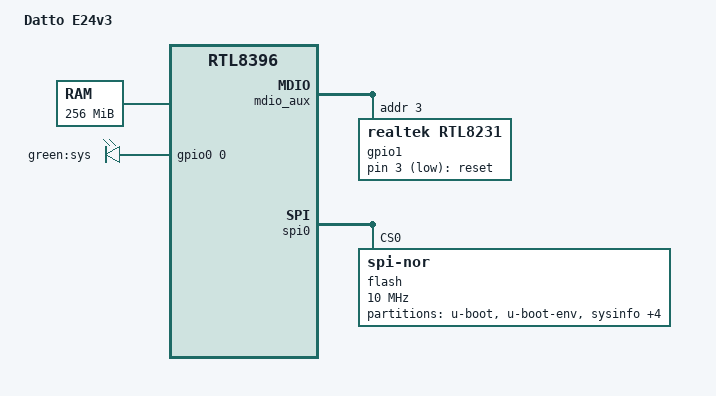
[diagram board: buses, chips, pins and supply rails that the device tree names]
/dts-v1/;

#include "rtl839x.dtsi"

#include <dt-bindings/input/input.h>
#include <dt-bindings/gpio/gpio.h>

/ {
	compatible = "datto,e24v3", "realtek,rtl8396-soc";
	model = "Datto E24v3";

	aliases {
		led-boot = &led_sys;
		led-failsafe = &led_sys;
		led-running = &led_sys;
		led-upgrade = &led_sys;
	};

	/* TODO: E24v3 has 256MB */
	memory@0 {
		device_type = "memory";
		reg = <0x0 0x10000000>;
	};

	leds {
		pinctrl-names = "default";
		pinctrl-0 = <&pinmux_disable_sys_led>;
		compatible = "gpio-leds";

		led_sys: sys {
			label = "green:sys";
			gpios = <&gpio0 0 GPIO_ACTIVE_HIGH>;
		};
	};

	keys {
		compatible = "gpio-keys-polled";
		poll-interval = <20>;

		reset {
			label = "reset";
			gpios = <&gpio1 3 GPIO_ACTIVE_LOW>;
			linux,code = <KEY_RESTART>;
			debounce-interval = <100>;
		};
	};

};

&mdio_aux {
	status = "okay";

	gpio1: expander@3 {
		compatible = "realtek,rtl8231";
		reg = <3>;

		gpio-controller;
		#gpio-cells = <2>;
		gpio-ranges = <&gpio1 0 0 37>;

		led-controller {
			compatible = "realtek,rtl8231-leds";
			status = "disabled";
		};
	};
};

&spi0 {
	status = "okay";
	flash@0 {
		compatible = "jedec,spi-nor";
		reg = <0>;
		spi-max-frequency = <10000000>;

		partitions {
			compatible = "fixed-partitions";
			#address-cells = <1>;
			#size-cells = <1>;

			partition@0 {
				label = "u-boot";
				reg = <0x0 0x80000>;
				read-only;
			};
			partition@80000 {
				label = "u-boot-env";
				reg = <0x80000 0x10000>;
			};
			partition@90000 {
				label = "sysinfo";
				reg = <0x90000 0x20000>;
			};
			partition@a0000 {
				label = "cfg";
				reg = <0xa0000 0x400000>;
			};
			partition@4a0000 {
				label = "log";
				reg = <0x4a0000 0x100000>;
			};
			partition@5a0000 {
				label = "firmware";
				reg = <0x5a0000 0xd30000>;
				compatible = "openwrt,uimage", "denx,uimage";
				// openwrt,ih-magic = <0x83800000>;
			};
			partition@12d0000 {
				label = "firmware2";
				reg = <0x12d0000 0xd30000>;
				compatible = "openwrt,uimage", "denx,uimage";
				// openwrt,ih-magic = <0x83800000>;
			};
		};
	};
};

&mdio_bus0 {
	/* External phy RTL8218B #1 */
	EXTERNAL_PHY(0)
	EXTERNAL_PHY(1)
	EXTERNAL_PHY(2)
	EXTERNAL_PHY(3)
	EXTERNAL_PHY(4)
	EXTERNAL_PHY(5)
	EXTERNAL_PHY(6)
	EXTERNAL_PHY(7)

	/* External phy RTL8218B #2 */
	EXTERNAL_PHY(8)
	EXTERNAL_PHY(9)
	EXTERNAL_PHY(10)
	EXTERNAL_PHY(11)
	EXTERNAL_PHY(12)
	EXTERNAL_PHY(13)
	EXTERNAL_PHY(14)
	EXTERNAL_PHY(15)

	/* External phy RTL8218B #3 */
	EXTERNAL_PHY(16)
	EXTERNAL_PHY(17)
	EXTERNAL_PHY(18)
	EXTERNAL_PHY(19)
	EXTERNAL_PHY(20)
	EXTERNAL_PHY(21)
	EXTERNAL_PHY(22)
	EXTERNAL_PHY(23)
};

&switch0 {
	ports {
		#address-cells = <1>;
		#size-cells = <0>;

		SWITCH_PORT(0, 1, qsgmii)
		SWITCH_PORT(1, 2, qsgmii)
		SWITCH_PORT(2, 3, qsgmii)
		SWITCH_PORT(3, 4, qsgmii)
		SWITCH_PORT(4, 5, qsgmii)
		SWITCH_PORT(5, 6, qsgmii)
		SWITCH_PORT(6, 7, qsgmii)
		SWITCH_PORT(7, 8, qsgmii)

		SWITCH_PORT(8, 9, qsgmii)
		SWITCH_PORT(9, 10, qsgmii)
		SWITCH_PORT(10, 11, qsgmii)
		SWITCH_PORT(11, 12, qsgmii)
		SWITCH_PORT(12, 13, qsgmii)
		SWITCH_PORT(13, 14, qsgmii)
		SWITCH_PORT(14, 15, qsgmii)
		SWITCH_PORT(15, 16, qsgmii)

		SWITCH_PORT(16, 17, qsgmii)
		SWITCH_PORT(17, 18, qsgmii)
		SWITCH_PORT(18, 19, qsgmii)
		SWITCH_PORT(19, 20, qsgmii)
		SWITCH_PORT(20, 21, qsgmii)
		SWITCH_PORT(21, 22, qsgmii)
		SWITCH_PORT(22, 23, qsgmii)
		SWITCH_PORT(23, 24, qsgmii)

		/* CPU-Port */
		port@52 {
			ethernet = <&ethernet0>;
			reg = <52>;
			phy-mode = "internal";
			fixed-link {
				speed = <1000>;
				full-duplex;
			};
		};
	};
};
